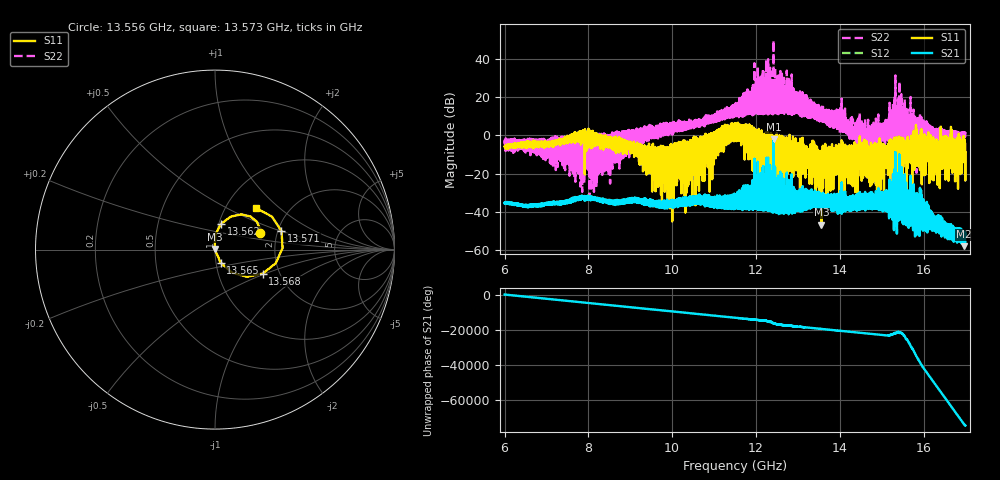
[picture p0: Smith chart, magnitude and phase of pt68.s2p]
#  HZ  S  RI  R  50.00
! Rohde & Schwarz Vector Network Analyzer
! Rohde-Schwarz,ZNA67-2Port,1332450062101215,3.01
! Created: UTC 10/16/2026, 1:46:17 PM
! freq[Hz]  re:S11  im:S11  re:S21  im:S21  re:S12  im:S12  re:S22  im:S22
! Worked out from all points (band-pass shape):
!   11001 points, 6 GHz to 17 GHz, reference 50 ohm
!   highest |S21| = -1.99 dB at 12.42 GHz (marker M1); lowest = -57.8 dB at 16.967 GHz (marker M2)
!   |S21| within 3 dB of the highest: 12.41991 GHz to 12.4201 GHz (189.3 kHz wide, 0.00152 % of centre)
!   lowest |S11| = -46.7 dB at 13.564 GHz (marker M3), VSWR 1.01, Z = 49.8 + j0.421 ohm
!   |S11| at or under -10 dB: 13.5284 GHz to 13.56839 GHz (39.99 MHz wide, 0.295 % of centre); 13.61261 GHz to 13.64732 GHz (34.71 MHz wide, 0.255 % of centre); 13.93534 GHz to 13.96255 GHz (27.21 MHz wide, 0.195 % of centre) (the widest 3 of 484)
!   |S22| runs from -32.3 to 49.6 dB; largest |S21 - S12| = 0.063
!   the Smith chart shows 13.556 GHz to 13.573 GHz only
!   S11 on the Smith chart (normalised r, x): 13.556 GHz: 1.62, +0.32; 13.562 GHz: 1.03, +0.30; 13.565 GHz: 1.05, -0.15; 13.568 GHz: 1.64, -0.48; 13.571 GHz: 2.09, +0.51; 13.573 GHz: 1.38, +0.71
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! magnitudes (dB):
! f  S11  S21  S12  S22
! 6 GHz  -6.0  -35.2  -35.2  -4.4
! 7.834 GHz  -1.0  -31.7  -31.6  -1.1
! 9.667 GHz  -6.6  -35.0  -35.2  4.9
! 10.68 GHz  -0.7  -36.2  -36.2  6.5
! 11.5 GHz  6.4  -36.0  -36.0  11.7
! 12.42 GHz  -12.7  -2.0  -2.0  49.6
! 13.334 GHz  -8.4  -35.9  -35.9  11.5
! 13.556 GHz  -11.6  -36.7  -36.6  9.2
! 13.562 GHz  -16.6  -32.9  -32.9  11.3
! 13.564 GHz  -46.7  -36.8  -36.8  8.1
! 13.565 GHz  -22.1  -34.8  -34.7  10.7
! 13.568 GHz  -10.5  -37.0  -36.9  8.7
! 13.571 GHz  -8.3  -34.6  -34.6  10.3
! 13.573 GHz  -9.8  -31.4  -31.3  13.3
! 14.617 GHz  -9.8  -35.0  -34.9  -1.2
! 14.838 GHz  -4.1  -34.4  -34.4  -1.1
! 15.167 GHz  -12.5  -31.7  -31.7  4.1
! 15.682 GHz  -8.2  -27.2  -27.2  9.9
! 15.802 GHz  -2.6  -41.2  -41.0  1.1
! 16.189 GHz  -8.9  -44.6  -44.5  -0.9
! 16.967 GHz  -3.8  -57.8  -57.8  -0.9
! 17 GHz  -4.5  -52.4  -52.3  1.0
